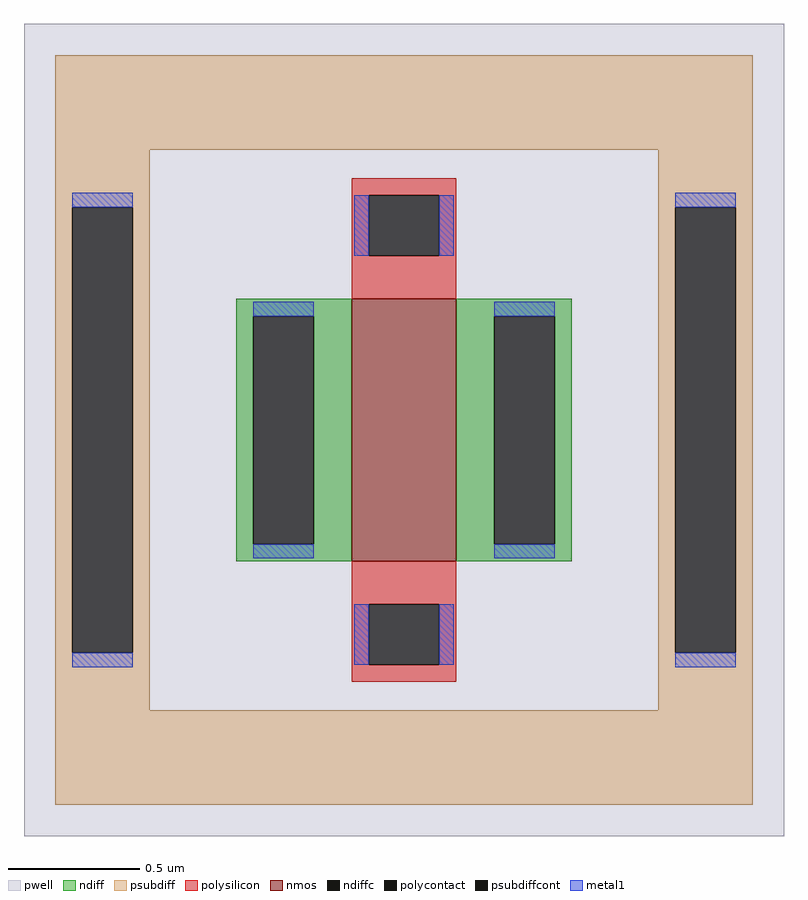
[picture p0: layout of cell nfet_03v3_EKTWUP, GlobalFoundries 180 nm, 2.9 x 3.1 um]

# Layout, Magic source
magic
tech gf180mcuD
magscale 1 10
<< pwell >>
rect -290 -310 290 310
<< nmos >>
rect -40 -100 40 100
<< ndiff >>
rect -128 87 -40 100
rect -128 -87 -115 87
rect -69 -87 -40 87
rect -128 -100 -40 -87
rect 40 87 128 100
rect 40 -87 69 87
rect 115 -87 128 87
rect 40 -100 128 -87
<< ndiffc >>
rect -115 -87 -69 87
rect 69 -87 115 87
<< psubdiff >>
rect -266 214 266 286
rect -266 170 -194 214
rect -266 -170 -253 170
rect -207 -170 -194 170
rect 194 170 266 214
rect -266 -214 -194 -170
rect 194 -170 207 170
rect 253 -170 266 170
rect 194 -214 266 -170
rect -266 -286 266 -214
<< psubdiffcont >>
rect -253 -170 -207 170
rect 207 -170 253 170
<< polysilicon >>
rect -40 179 40 192
rect -40 133 -27 179
rect 27 133 40 179
rect -40 100 40 133
rect -40 -133 40 -100
rect -40 -179 -27 -133
rect 27 -179 40 -133
rect -40 -192 40 -179
<< polycontact >>
rect -27 133 27 179
rect -27 -179 27 -133
<< metal1 >>
rect -253 170 -207 181
rect -38 133 -27 179
rect 27 133 38 179
rect 207 170 253 181
rect -115 87 -69 98
rect -115 -98 -69 -87
rect 69 87 115 98
rect 69 -98 115 -87
rect -253 -181 -207 -170
rect -38 -179 -27 -133
rect 27 -179 38 -133
rect 207 -181 253 -170
<< properties >>
string FIXED_BBOX -230 -250 230 250
string gencell nfet_03v3
string library gf180mcu
string parameters w 1.0 l 0.4 m 1 nf 1 diffcov 100 polycov 100 guard 1 glc 1 grc 1 gtc 0 gbc 0 tbcov 100 rlcov 100 topc 1 botc 1 poverlap 0 doverlap 1 lmin 0.28 wmin 0.22 class mosfet full_metal 0 compatible {nfet_03v3 nfet_06v0 nfet_06v0_nvt}
<< end >>
